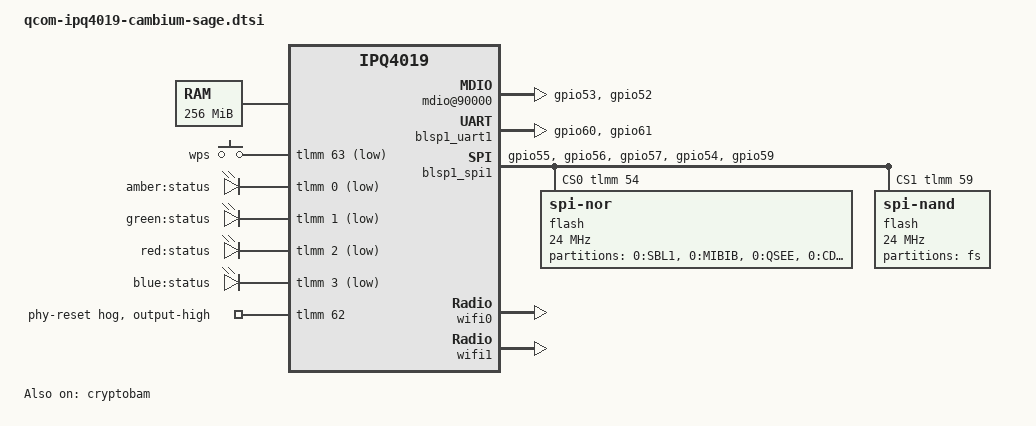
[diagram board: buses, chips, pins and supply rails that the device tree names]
// SPDX-License-Identifier: GPL-2.0-or-later OR MIT

#include "qcom-ipq4019.dtsi"
#include <dt-bindings/gpio/gpio.h>
#include <dt-bindings/input/input.h>
#include <dt-bindings/soc/qcom,tcsr.h>

/ {
	aliases {
		label-mac-device = &gmac0;
		led-boot = &led_status_amber;
		led-failsafe = &led_status_red;
		led-running = &led_status_green;
		led-upgrade = &led_status_amber;
	};

	chosen {
		bootargs-append = " clk_ignore_unused";
		stdout-path = &blsp1_uart1;
	};

	memory {
		device_type = "memory";
		reg = <0x80000000 0x10000000>;
	};

	reserved-memory {
		ranges;

		rsvd1@87000000 {
			reg = <0x87000000 0x500000>;
			no-map;
		};

		wifi_dump@87500000 {
			reg = <0x87500000 0x600000>;
			no-map;
		};

		rsvd2@87b00000 {
			/* Leave the final 64 KiB of this range to the inherited ramoops node. */
			reg = <0x87b00000 0x2f0000>;
			no-map;
		};
	};

	soc {
		counter@4a1000 {
			compatible = "qcom,qca-gcnt";
			reg = <0x4a1000 0x4>;
		};

		mdio@90000 {
			status = "okay";
			pinctrl-0 = <&mdio_pins>;
			pinctrl-names = "default";
		};

		ess-psgmii@98000 {
			status = "okay";
		};

		tcsr@1949000 {
			compatible = "qcom,tcsr";
			reg = <0x1949000 0x100>;
			qcom,wifi_glb_cfg = <TCSR_WIFI_GLB_CFG>;
		};

		ess_tcsr@1953000 {
			compatible = "qcom,tcsr";
			reg = <0x1953000 0x1000>;
			qcom,ess-interface-select = <TCSR_ESS_PSGMII>;
		};

		tcsr@1957000 {
			compatible = "qcom,tcsr";
			reg = <0x1957000 0x100>;
			qcom,wifi_noc_memtype_m0_m2 = <TCSR_WIFI_NOC_MEMTYPE_M0_M2>;
		};

		rng@22000 {
			status = "okay";
		};

		crypto@8e3a000 {
			status = "okay";
		};

		watchdog@b017000 {
			status = "okay";
		};

		ess-switch@c000000 {
			switch_lan_bmp = <0x10>;
			switch_wan_bmp = <0x00>;
			status = "okay";
		};

		edma@c080000 {
			qcom,num_gmac = <1>;
			status = "okay";
		};
	};

	keys {
		compatible = "gpio-keys";

		wps {
			label = "wps";
			gpios = <&tlmm 63 GPIO_ACTIVE_LOW>;
			linux,code = <KEY_WPS_BUTTON>;
		};
	};

	leds {
		compatible = "gpio-leds";

		led_status_amber: status_amber {
			label = "amber:status";
			gpios = <&tlmm 0 GPIO_ACTIVE_LOW>;
		};

		led_status_green: status_green {
			label = "green:status";
			gpios = <&tlmm 1 GPIO_ACTIVE_LOW>;
		};

		led_status_red: status_red {
			label = "red:status";
			gpios = <&tlmm 2 GPIO_ACTIVE_LOW>;
		};

		status_blue {
			label = "blue:status";
			gpios = <&tlmm 3 GPIO_ACTIVE_LOW>;
		};
	};
};

&tlmm {
	mdio_pins: mdio_pinmux {
		mux_mdio {
			pins = "gpio53";
			function = "mdio";
			bias-pull-up;
		};

		mux_mdc {
			pins = "gpio52";
			function = "mdc";
			bias-pull-up;
		};
	};

	serial_pins: serial_pinmux {
		mux {
			pins = "gpio60", "gpio61";
			function = "blsp_uart0";
			bias-disable;
		};
	};

	spi_pins: spi_pinmux {
		mux_spi {
			function = "blsp_spi0";
			pins = "gpio55", "gpio56", "gpio57";
			drive-strength = <12>;
			bias-disable;
		};

		mux_cs {
			function = "gpio";
			pins = "gpio54", "gpio59";
			drive-strength = <2>;
			bias-disable;
			output-high;
		};
	};

	phy_reset {
		gpio-hog;
		line-name = "phy-reset";
		gpios = <62 GPIO_ACTIVE_HIGH>;
		output-high;
	};
};

&blsp_dma {
	status = "okay";
};

&blsp1_uart1 {
	status = "okay";
	pinctrl-0 = <&serial_pins>;
	pinctrl-names = "default";
};

&blsp1_spi1 {
	status = "okay";
	pinctrl-0 = <&spi_pins>;
	pinctrl-names = "default";
	cs-gpios = <&tlmm 54 GPIO_ACTIVE_HIGH>,
		   <&tlmm 59 GPIO_ACTIVE_HIGH>;

	flash@0 {
		compatible = "jedec,spi-nor";
		reg = <0>;
		spi-max-frequency = <24000000>;

		partitions {
			compatible = "fixed-partitions";
			#address-cells = <1>;
			#size-cells = <1>;

			partition@0 {
				label = "0:SBL1";
				reg = <0x000000 0x040000>;
				read-only;
			};

			partition@40000 {
				label = "0:MIBIB";
				reg = <0x040000 0x020000>;
				read-only;
			};

			partition@60000 {
				label = "0:QSEE";
				reg = <0x060000 0x060000>;
				read-only;
			};

			partition@c0000 {
				label = "0:CDT";
				reg = <0x0c0000 0x010000>;
				read-only;
			};

			partition@d0000 {
				label = "0:DDRPARAMS";
				reg = <0x0d0000 0x010000>;
				read-only;
			};

			partition@e0000 {
				label = "0:APPSBLENV";
				reg = <0x0e0000 0x010000>;
			};

			partition@f0000 {
				label = "0:APPSBL";
				reg = <0x0f0000 0x080000>;
				read-only;
			};

			art: partition@170000 {
				compatible = "nvmem-cells";
				#address-cells = <1>;
				#size-cells = <1>;
				label = "0:ART";
				reg = <0x170000 0x010000>;
				read-only;

				wifi0_mac: macaddr@1006 {
					reg = <0x1006 0x6>;
				};

				wifi1_mac: macaddr@5006 {
					reg = <0x5006 0x6>;
				};
			};

			partition@180000 {
				label = "mfginfo";
				reg = <0x180000 0x010000>;
				read-only;
			};

			partition@190000 {
				label = "crashLog";
				reg = <0x190000 0x010000>;
				read-only;
			};

			partition@1a0000 {
				label = "config";
				reg = <0x1a0000 0x010000>;
				read-only;
			};
		};
	};

	flash@1 {
		compatible = "spi-nand";
		reg = <1>;
		spi-max-frequency = <24000000>;

		partitions {
			compatible = "fixed-partitions";
			#address-cells = <1>;
			#size-cells = <1>;

			partition@0 {
				label = "fs";
				reg = <0x0000000 0x8000000>;
			};
		};
	};
};

&cryptobam {
	status = "okay";
};

&gmac0 {
	/* External switch port 4 is MDIO PHY address 3 in the legacy ESS driver. */
	qcom,phy_mdio_addr = <3>;
	qcom,poll_required = <1>;
	qcom,forced_speed = <1000>;
	qcom,forced_duplex = <1>;
	vlan_tag = <1 0x10>;
};

&wifi0 {
	mtd-mac-address = <&art 0x1006>;
	nvmem-cells = <&wifi0_mac>;
	nvmem-cell-names = "mac-address";
	status = "okay";
};

&wifi1 {
	mtd-mac-address = <&art 0x5006>;
	nvmem-cells = <&wifi1_mac>;
	nvmem-cell-names = "mac-address";
	status = "okay";
};
